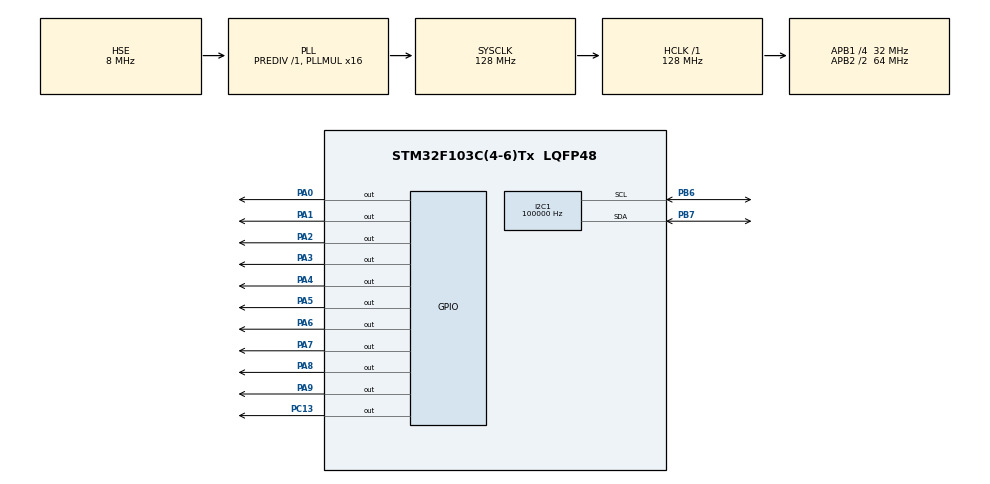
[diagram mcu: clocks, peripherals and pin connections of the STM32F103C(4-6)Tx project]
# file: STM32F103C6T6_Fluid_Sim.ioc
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I2C1.ClockSpeed=100000
Mcu.Family=STM32F1
Mcu.Name=STM32F103C(4-6)Tx
Mcu.Package=LQFP48
NVIC.PriorityGroup=NVIC_PRIORITYGROUP_4
PA0-WKUP.Signal=GPIO_Output
PA1.Signal=GPIO_Output
PA13.Mode=Trace_Asynchronous_SW
PA13.Signal=SYS_JTMS-SWDIO
PA14.Mode=Trace_Asynchronous_SW
PA14.Signal=SYS_JTCK-SWCLK
PA2.Signal=GPIO_Output
PA3.Signal=GPIO_Output
PA4.Signal=GPIO_Output
PA5.Signal=GPIO_Output
PA6.Signal=GPIO_Output
PA7.Signal=GPIO_Output
PA8.Signal=GPIO_Output
PA9.Signal=GPIO_Output
PB3.Mode=Trace_Asynchronous_SW
PB3.Signal=SYS_JTDO-TRACESWO
PB6.Mode=I2C
PB6.Signal=I2C1_SCL
PB7.Mode=I2C
PB7.Signal=I2C1_SDA
PC13-TAMPER-RTC.Signal=GPIO_Output
PD0-OSC_IN.Mode=HSE-External-Oscillator
PD0-OSC_IN.Signal=RCC_OSC_IN
PD1-OSC_OUT.Mode=HSE-External-Oscillator
PD1-OSC_OUT.Signal=RCC_OSC_OUT
ProjectManager.HeapSize=0x200
ProjectManager.StackSize=0x400
ProjectManager.TargetToolchain=STM32CubeIDE
RCC.AHBFreq_Value=128000000
RCC.APB1CLKDivider=RCC_HCLK_DIV4
RCC.APB1Freq_Value=32000000
RCC.APB1TimFreq_Value=64000000
RCC.APB2CLKDivider=RCC_HCLK_DIV2
RCC.APB2Freq_Value=64000000
RCC.APB2TimFreq_Value=128000000
RCC.HCLKFreq_Value=128000000
RCC.PLLMUL=RCC_PLL_MUL16
RCC.PLLSourceVirtual=RCC_PLLSOURCE_HSE
RCC.SYSCLKFreq_VALUE=128000000
RCC.SYSCLKSource=RCC_SYSCLKSOURCE_PLLCLK
RCC.USBFreq_Value=128000000
board=custom

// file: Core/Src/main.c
/* USER CODE BEGIN Header */
/* USER CODE END Header */
#include "main.h"

/* USER CODE BEGIN Includes */
#include "mpu6050.h"
#include "SimC.h"
/* USER CODE END Includes */

I2C_HandleTypeDef hi2c1;

void SystemClock_Config(void);
static void MX_GPIO_Init(void);
static void MX_I2C1_Init(void);

/* USER CODE BEGIN 0 */
#define FRAME_DIM OUT_BUFFER_DIM
#define FRAME_SIZE FRAME_DIM * FRAME_DIM

uint16_t frame16x16[256] = {
    0x100, 0x101, 0x102, 0x103, 0x104, 0x105, 0x106, 0x107, 0x108, 0x109, 0x10A, 0x10B, 0x10C, 0x10D, 0x10E, 0x10F,
    0x110, 0x111, 0x112, 0x113, 0x114, 0x115, 0x116, 0x117, 0x118, 0x119, 0x11A, 0x11B, 0x11C, 0x11D, 0x11E, 0x11F,
    0x120, 0x121, 0x122, 0x123, 0x124, 0x125, 0x126, 0x127, 0x128, 0x129, 0x12A, 0x12B, 0x12C, 0x12D, 0x12E, 0x12F,
    0x130, 0x131, 0x132, 0x133, 0x134, 0x135, 0x136, 0x137, 0x138, 0x139, 0x13A, 0x13B, 0x13C, 0x13D, 0x13E, 0x13F,
    0x140, 0x141, 0x142, 0x143, 0x144, 0x145, 0x146, 0x147, 0x148, 0x149, 0x14A, 0x14B, 0x14C, 0x14D, 0x14E, 0x14F,
    0x150, 0x151, 0x152, 0x153, 0x154, 0x155, 0x156, 0x157,	0x158, 0x159, 0x15A, 0x15B, 0x15C, 0x15D, 0x15E, 0x15F,
    0x160, 0x161, 0x162, 0x163, 0x164, 0x165, 0x166, 0x167,	0x168, 0x169, 0x16A, 0x16B, 0x16C, 0x16D, 0x16E, 0x16F,
    0x170, 0x171, 0x172, 0x173, 0x174, 0x175, 0x176, 0x177, 0x178, 0x179, 0x17A, 0x17B, 0x17C, 0x17D, 0x17E, 0x17F,
	0x180, 0x181, 0x182, 0x183, 0x184, 0x185, 0x186, 0x187,	0x188, 0x189, 0x18A, 0x18B, 0x18C, 0x18D, 0x18E, 0x18F,
	0x190, 0x191, 0x192, 0x193, 0x194, 0x195, 0x196, 0x197,	0x198, 0x199, 0x19A, 0x19B, 0x19C, 0x19D, 0x19E, 0x19F,
	0x1A0, 0x1A1, 0x1A2, 0x1A3, 0x1A4, 0x1A5, 0x1A6, 0x1A7,	0x1A8, 0x1A9, 0x1AA, 0x1AB, 0x1AC, 0x1AD, 0x1AE, 0x1AF,
	0x1B0, 0x1B1, 0x1B2, 0x1B3, 0x1B4, 0x1B5, 0x1B6, 0x1B7,	0x1B8, 0x1B9, 0x1BA, 0x1BB, 0x1BC, 0x1BD, 0x1BE, 0x1BF,
	0x1C0, 0x1C1, 0x1C2, 0x1C3, 0x1C4, 0x1C5, 0x1C6, 0x1C7,	0x1C8, 0x1C9, 0x1CA, 0x1CB, 0x1CC, 0x1CD, 0x1CE, 0x1CF,
	0x1D0, 0x1D1, 0x1D2, 0x1D3, 0x1D4, 0x1D5, 0x1D6, 0x1D7,	0x1D8, 0x1D9, 0x1DA, 0x1DB, 0x1DC, 0x1DD, 0x1DE, 0x1DF,
	0x1E0, 0x1E1, 0x1E2, 0x1E3, 0x1E4, 0x1E5, 0x1E6, 0x1E7,	0x1E8, 0x1E9, 0x1EA, 0x1EB, 0x1EC, 0x1ED, 0x1EE, 0x1EF,
	0x1F0, 0x1F1, 0x1F2, 0x1F3, 0x1F4, 0x1F5, 0x1F6, 0x1F7,	0x1F8, 0x1F9, 0x1FA, 0x1FB, 0x1FC, 0x1FD, 0x1FE, 0x1FF
};
uint16_t frame8x8[64] = {
		0x300, 0x301, 0x302, 0x303, 0x304, 0x305, 0x306, 0x307,
		0x310, 0x311, 0x312, 0x313, 0x314, 0x315, 0x316, 0x317,
		0x320, 0x321, 0x322, 0x323, 0x324, 0x325, 0x326, 0x327,
		0x330, 0x331, 0x332, 0x333, 0x334, 0x335, 0x336, 0x337,
		0x340, 0x341, 0x342, 0x343, 0x344, 0x345, 0x346, 0x347,
		0x350, 0x351, 0x352, 0x353, 0x354, 0x355, 0x356, 0x357,
		0x360, 0x361, 0x362, 0x363, 0x364, 0x365, 0x366, 0x367,
		0X370, 0x371, 0x372, 0x373, 0x374, 0x375, 0x376, 0x377
};
uint16_t* frame;

char Heart_buffer[FRAME_DIM][FRAME_DIM] = {
	{0,1,1,0,0,1,1,0}, // y = 0
	{1,1,1,1,1,1,1,1}, // y = 1
	{1,1,1,1,1,1,1,1}, // y = 2
	{1,1,1,1,1,1,1,1}, // y = 3
	{0,1,1,1,1,1,1,0}, // y = 4
	{0,0,1,1,1,1,0,0}, // y = 5
	{0,0,0,1,1,0,0,0}, // y = 6
	{0,0,0,0,0,0,0,0}  // y = 7
};

char general_buffer[FRAME_DIM][FRAME_DIM] = {
	{1,1,1,1,1,1,1,1},
	{0,1,1,1,1,1,1,0},
	{0,0,1,1,1,1,0,0},
	{0,0,0,1,1,0,0,0},
	{0,0,0,0,0,0,0,0},
	{0,0,0,0,0,0,0,0},
	{0,0,0,0,0,0,0,0},
	{0,0,0,0,0,0,0,0}
};

int debug_info = 0;

void DrawBuffer(char buffer[FRAME_DIM][FRAME_DIM]) {
	for (int i = 0; i < FRAME_DIM; i++) {
		for (int j = 0; j < FRAME_DIM; j++) {
			if (buffer[i][j]){
				frame[i * FRAME_DIM + j] &= ~0x200;
			}
			else {
				frame[i * FRAME_DIM + j] |= 0x200;
			}
		}
	}
}

void DrawBufferDim() {
	for (int i = 0; i < OUT_BUFFER_DIM; i++) {
		for (int j = 0; j < OUT_BUFFER_DIM; j++) {
			if (out_buffer[i][j]){
				frame[i * FRAME_DIM + j] &= ~0x200;
			}
			else {
				frame[i * FRAME_DIM + j] |= 0x200;
			}
		}
	}
}

void FillScreen() {
	for (int i = 0; i < FRAME_DIM; i++) {
		for (int j = 0; j < FRAME_DIM; j++) {
			frame[i * FRAME_DIM + j] &= ~0x200;
		}
	}
}

void EmptyScreen() {
	for (int i = 0; i < FRAME_DIM; i++) {
		for (int j = 0; j < FRAME_DIM; j++) {
			frame[i * FRAME_DIM + j] |= 0x200;
		}
	}
}

int x = 0;
int y = 0;
int ON = 1;

void SetPixel(int x, int y, int ON) {
	if (ON) {
		frame[y * FRAME_DIM + x] &= ~0x200; // Set bit to 1
	} else {
		frame[y * FRAME_DIM + x] |= 0x200; // Set bit to 0
	}
}

void HAL_GPIO_EXTI_Callback(uint16_t GPIO_Pin)
{
    if (GPIO_Pin == GPIO_PIN_15)
    {
        x = (GPIOB->IDR & 0x00F0) >> 4;
        y = (GPIOB->IDR & 0x0F00) >> 8;
        ON = GPIOB->IDR & 0x1000;
        SetPixel(x, y, ON);
    }
	// set A15 to 0
	HAL_GPIO_WritePin(GPIOA, GPIO_PIN_15, GPIO_PIN_RESET);
}

/* USER CODE END 0 */

int main(void)
{

  /* MCU Configuration--------------------------------------------------------*/

  /* Reset of all peripherals, Initializes the Flash interface and the Systick. */
  HAL_Init();

  /* Configure the system clock */
  SystemClock_Config();

  /* Initialize all configured peripherals */
  MX_GPIO_Init();
  MX_I2C1_Init();
  /* USER CODE BEGIN 2 */
  if (FRAME_DIM == 8){
  	frame = frame8x8;
  }
  else if (FRAME_DIM == 16){
  	frame = frame16x16;
  }
  // Włącz DMA i Timer
  	RCC->AHBENR |= RCC_AHBENR_DMA1EN;
  	RCC->APB1ENR |= RCC_APB1ENR_TIM2EN;

  	// DMA1_Channel2 ← wyzwalany przez TIM2_UP
  	DMA1_Channel2->CCR &= ~DMA_CCR_EN;  // wyłącz DMA przed konfiguracją

  	DMA1_Channel2->CPAR = (uint32_t)&GPIOA->ODR;
  	DMA1_Channel2->CMAR = (uint32_t)frame;
  	DMA1_Channel2->CNDTR = FRAME_SIZE;

  	DMA1_Channel2->CCR =
  	    DMA_CCR_MINC |         // Memory increment
  	    DMA_CCR_DIR  |         // Mem → Periph
  	    DMA_CCR_CIRC |         // Cyklicznie
  	    DMA_CCR_MSIZE_0 |      // MSIZE = 16-bit
  	    DMA_CCR_PSIZE_0;       // PSIZE = 16-bit

  	DMA1_Channel2->CCR |= DMA_CCR_EN;   // włącz DMA

  	// Timer 2 – co 1 ms
  	TIM2->PSC = 72 - 1;  // (72MHz / 7200 = 10kHz)
  	TIM2->ARR = 10 - 1;    // co 1 ms
  	TIM2->DIER |= TIM_DIER_UDE; // update event triggers DMA
  	TIM2->CR1 |= TIM_CR1_CEN;   // start

  	init_particles_middle();
    // init mpu
  	MPU6050_Data mpu;
  	HAL_Delay(10);
  	MPU6050_Init(&hi2c1);

  	//FillScreen();
  /* USER CODE END 2 */

  /* Infinite loop */
  /* USER CODE BEGIN WHILE */
  	while (1)
	{
		debug_info = 6;
		if (MPU6050_ReadData(&hi2c1, &mpu) == HAL_OK) {
			  Vec2 gravity;
			  gravity.x = -mpu.Accel_Y;
				gravity.y = mpu.Accel_Z;
			  set_gravity_direction(gravity);
		}

		debug_info = 1;
		step_simulation();
		debug_info = 2;
		generate_output();
		debug_info = 3;
		DrawBufferDim();
		debug_info = 4;

	}
    /* USER CODE END WHILE */

}

void SystemClock_Config(void)
{
  RCC_OscInitTypeDef RCC_OscInitStruct = {0};
  RCC_ClkInitTypeDef RCC_ClkInitStruct = {0};

  /** Initializes the RCC Oscillators according to the specified parameters
  * in the RCC_OscInitTypeDef structure.
  */
  RCC_OscInitStruct.OscillatorType = RCC_OSCILLATORTYPE_HSE;
  RCC_OscInitStruct.HSEState = RCC_HSE_ON;
  RCC_OscInitStruct.HSEPredivValue = RCC_HSE_PREDIV_DIV1;
  RCC_OscInitStruct.HSIState = RCC_HSI_ON;
  RCC_OscInitStruct.PLL.PLLState = RCC_PLL_ON;
  RCC_OscInitStruct.PLL.PLLSource = RCC_PLLSOURCE_HSE;
  RCC_OscInitStruct.PLL.PLLMUL = RCC_PLL_MUL16;
  if (HAL_RCC_OscConfig(&RCC_OscInitStruct) != HAL_OK)
  {
    Error_Handler();
  }

  /** Initializes the CPU, AHB and APB buses clocks
  */
  RCC_ClkInitStruct.ClockType = RCC_CLOCKTYPE_HCLK|RCC_CLOCKTYPE_SYSCLK
                              |RCC_CLOCKTYPE_PCLK1|RCC_CLOCKTYPE_PCLK2;
  RCC_ClkInitStruct.SYSCLKSource = RCC_SYSCLKSOURCE_PLLCLK;
  RCC_ClkInitStruct.AHBCLKDivider = RCC_SYSCLK_DIV1;
  RCC_ClkInitStruct.APB1CLKDivider = RCC_HCLK_DIV4;
  RCC_ClkInitStruct.APB2CLKDivider = RCC_HCLK_DIV2;

  if (HAL_RCC_ClockConfig(&RCC_ClkInitStruct, FLASH_LATENCY_2) != HAL_OK)
  {
    Error_Handler();
  }
}

static void MX_I2C1_Init(void)
{

  hi2c1.Instance = I2C1;
  hi2c1.Init.ClockSpeed = 100000;
  hi2c1.Init.DutyCycle = I2C_DUTYCYCLE_2;
  hi2c1.Init.OwnAddress1 = 0;
  hi2c1.Init.AddressingMode = I2C_ADDRESSINGMODE_7BIT;
  hi2c1.Init.DualAddressMode = I2C_DUALADDRESS_DISABLE;
  hi2c1.Init.OwnAddress2 = 0;
  hi2c1.Init.GeneralCallMode = I2C_GENERALCALL_DISABLE;
  hi2c1.Init.NoStretchMode = I2C_NOSTRETCH_DISABLE;
  if (HAL_I2C_Init(&hi2c1) != HAL_OK)
  {
    Error_Handler();
  }

}

static void MX_GPIO_Init(void)
{
  GPIO_InitTypeDef GPIO_InitStruct = {0};

  /* GPIO Ports Clock Enable */
  __HAL_RCC_GPIOC_CLK_ENABLE();
  __HAL_RCC_GPIOD_CLK_ENABLE();
  __HAL_RCC_GPIOA_CLK_ENABLE();
  __HAL_RCC_GPIOB_CLK_ENABLE();

  /*Configure GPIO pin Output Level */
  HAL_GPIO_WritePin(GPIOC, GPIO_PIN_13, GPIO_PIN_RESET);

  /*Configure GPIO pin Output Level */
  HAL_GPIO_WritePin(GPIOA, GPIO_PIN_0|GPIO_PIN_1|GPIO_PIN_2|GPIO_PIN_3
                          |GPIO_PIN_4|GPIO_PIN_5|GPIO_PIN_6|GPIO_PIN_7
                          |GPIO_PIN_8|GPIO_PIN_9, GPIO_PIN_RESET);

  /*Configure GPIO pin : PC13 */
  GPIO_InitStruct.Pin = GPIO_PIN_13;
  GPIO_InitStruct.Mode = GPIO_MODE_OUTPUT_PP;
  GPIO_InitStruct.Pull = GPIO_NOPULL;
  GPIO_InitStruct.Speed = GPIO_SPEED_FREQ_LOW;
  HAL_GPIO_Init(GPIOC, &GPIO_InitStruct);

  /*Configure GPIO pins : PA0 PA1 PA2 PA3
                           PA4 PA5 PA6 PA7
                           PA8 PA9 */
  GPIO_InitStruct.Pin = GPIO_PIN_0|GPIO_PIN_1|GPIO_PIN_2|GPIO_PIN_3
                          |GPIO_PIN_4|GPIO_PIN_5|GPIO_PIN_6|GPIO_PIN_7
                          |GPIO_PIN_8|GPIO_PIN_9;
  GPIO_InitStruct.Mode = GPIO_MODE_OUTPUT_PP;
  GPIO_InitStruct.Pull = GPIO_NOPULL;
  GPIO_InitStruct.Speed = GPIO_SPEED_FREQ_LOW;
  HAL_GPIO_Init(GPIOA, &GPIO_InitStruct);

}

void Error_Handler(void)
{
}
